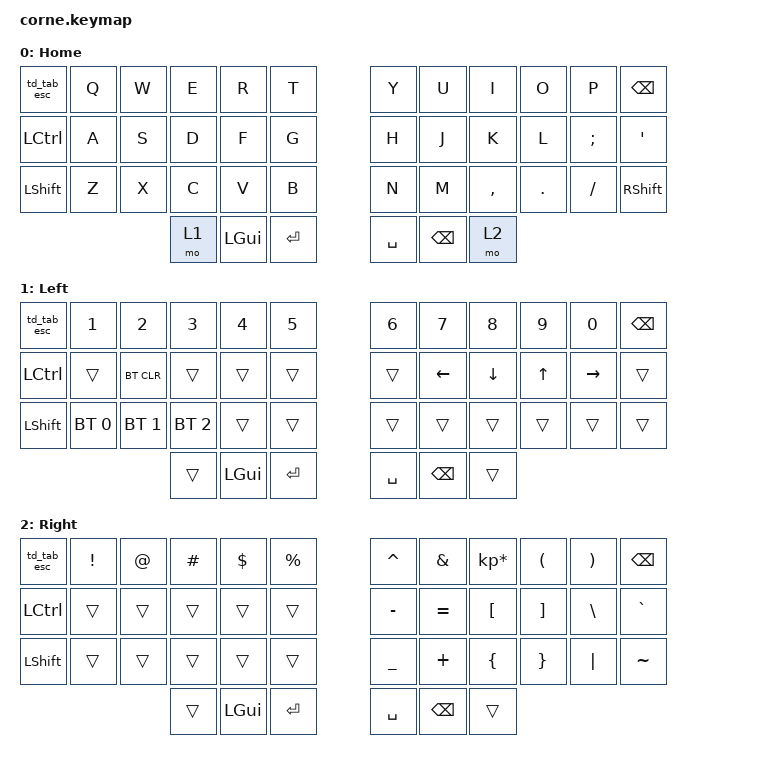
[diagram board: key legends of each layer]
/*
 * Copyright (c) 2020 The ZMK Contributors
 *
 * SPDX-License-Identifier: MIT
 */

#include <behaviors.dtsi>
#include <dt-bindings/zmk/keys.h>
#include <dt-bindings/zmk/bt.h>

/ {
        behaviors {
            td_tab_esc: tap_dance_tab_esc {
                compatible = "zmk,behavior-tap-dance";
                #binding-cells = <0>;
                tapping-term-ms = <200>;
                bindings = <&kp TAB>, <&kp ESC>;
            };
        };
        keymap {
                compatible = "zmk,keymap";

                default_layer {
// -----------------------------------------------------------------------------------------
// |TD_TAB_ESC|  Q  |  W  |  E  |  R  |  T  |   |  Y  |  U   |  I  |  O  |  P  | BKSP |
// |  CTRL    |  A  |  S  |  D  |  F  |  G  |   |  H  |  J   |  K  |  L  |  ;  |  '   |
// |  SHFT    |  Z  |  X  |  C  |  V  |  B  |   |  N  |  M   |  ,  |  .  |  /  | SHFT |
//                      | LWR | CMD | RET |   | SPC | BKSP | RSE |
                        label = "Home";
                        bindings = <
   &td_tab_esc &kp Q &kp W &kp E &kp R &kp T   &kp Y &kp U  &kp I     &kp O   &kp P    &kp BSPC
   &kp LCTRL   &kp A &kp S &kp D &kp F &kp G   &kp H &kp J  &kp K     &kp L   &kp SEMI &kp SQT
   &kp LSHFT   &kp Z &kp X &kp C &kp V &kp B   &kp N &kp M  &kp COMMA &kp DOT &kp FSLH &kp RSHIFT
                    &mo 1 &kp LGUI &kp RET   &kp SPACE &kp BSPC &mo 2
                        >;
                };
                lower_layer {
// -----------------------------------------------------------------------------------------
// |TD_TAB_ESC|  1  |  2  |  3  |  4  |  5  |   |  6  |  7   |  8  |  9  |  0  | BKSP |
// |  CTRL    |     |BTCLR|     |     |     |   |     | LFT  | DWN | UP  | RGT |      |
// |  SHFT    | BT1 | BT2 | BT3 |     |     |   |     |      |     |     |     |      |
//                      |     | CMD | RET |   | SPC | BKSP |     |
                        label = "Left";
                        bindings = <      
   &td_tab_esc &kp N1       &kp N2       &kp N3 &kp N4 &kp N5   &kp N6 &kp N7   &kp N8   &kp N9 &kp N0 &kp BSPC
   &kp LCTRL   &trans       &bt BT_CLR   &trans &trans &trans   &trans &kp LEFT &kp DOWN &kp UP &kp RIGHT &trans
   &kp LSHFT   &bt BT_SEL 0 &bt BT_SEL 1 &bt BT_SEL 2 &trans &trans   &trans &trans   &trans   &trans &trans &trans
                                     &trans &kp LGUI &kp RET   &kp SPACE &kp BSPC &trans
                        >;
                };

                raise_layer {
// -----------------------------------------------------------------------------------------
// |TD_TAB_ESC|  !  |  @  |  #  |  $  |  %  |   |  ^  |  &   |  *  |  (  |  )  | BKSP |
// |  CTRL    |     |     |     |     |     |   |  -  |  =   |  [  |  ]  |  \  |  `   |
// |  SHFT    |     |     |     |     |     |   |  _  |  +   |  {  |  }  | "|" |  ~   |
//                      |     | CMD | RET |   | SPC | BKSP |     |
                        label = "Right";
                        bindings = <
   &td_tab_esc &kp EXCL &kp AT &kp HASH &kp DLLR &kp PRCNT   &kp CARET &kp AMPS  &kp KP_MULTIPLY &kp LPAR &kp RPAR &kp BSPC
   &kp LCTRL   &trans   &trans &trans   &trans   &trans      &kp MINUS &kp EQUAL &kp LBKT        &kp RBKT &kp BSLH &kp GRAVE
   &kp LSHFT   &trans   &trans &trans   &trans   &trans      &kp UNDER &kp PLUS  &kp LBRC        &kp RBRC &kp PIPE &kp TILDE
                    	       &trans &kp LGUI   &kp RET   &kp SPACE   &kp BSPC    &trans
                        >;
                };
        };
};
